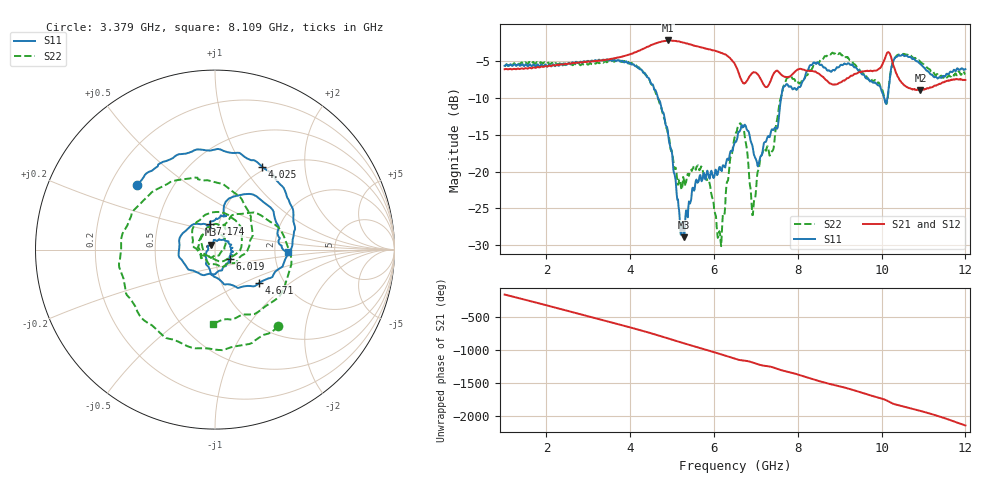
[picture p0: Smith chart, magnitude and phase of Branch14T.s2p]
!Keysight Technologies N9917A: A.08.15
!Date: Friday, 06 October 2017 10:04:01
!Timezone: (GMT-08:00) Pacific Time (US & Canada)
!Model: N9917A
!Serial: MY53102735
!GPS Latitude:
!GPS Longitude:
!GPS TimeStamp: 0001-01-01 00:00:00Z
!GPS Seconds Since Last Read: 0
!CHECKSUM:0928364548
!Correction: S11(ON U)S21(ON U)S12(ON U)S22(ON U)
!S2P File: Measurements:S11,S21,S12,S22:
# Hz S DB R 50
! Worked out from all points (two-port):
!   801 points, 1 GHz to 12 GHz, reference 50 ohm
!   highest |S21| = -2.28 dB at 4.891 GHz (marker M1); lowest = -9.0 dB at 10.93 GHz (marker M2)
!   |S21| within 3 dB of the highest: 2.768 GHz to 6.475 GHz (3.706 GHz wide, 80.2 % of centre); 10.04 GHz to 10.26 GHz (225.5 MHz wide, 2.22 % of centre)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
!   lowest |S11| = -28.9 dB at 5.276 GHz (marker M3), VSWR 1.07, Z = 47.7 + j2.63 ohm
!   |S11| at or under -10 dB: 4.657 GHz to 7.603 GHz (2.946 GHz wide, 48.1 % of centre); 10.06 GHz to 10.14 GHz (82.17 MHz wide, 0.814 % of centre)
!   |S22| runs from -30.1 to -3.9 dB; largest |S21 - S12| = 0.015
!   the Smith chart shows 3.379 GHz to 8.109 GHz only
!   S11 on the Smith chart (normalised r, x): 3.379 GHz: 0.31, +0.33; 4.025 GHz: 0.95, +1.22; 4.671 GHz: 1.50, -0.62; 6.019 GHz: 1.17, -0.12; 7.174 GHz: 0.91, +0.26; 8.109 GHz: 2.35, -0.08
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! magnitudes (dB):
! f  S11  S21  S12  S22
! 1 GHz  -5.7  -6.2  -6.2  -5.8
! 2.842 GHz  -5.3  -5.2  -5.2  -5.5
! 3.379 GHz  -5.0  -4.9  -4.9  -5.1
! 4.025 GHz  -5.5  -4.1  -4.1  -5.3
! 4.671 GHz  -10.2  -2.6  -2.5  -10.2
! 4.891 GHz  -14.3  -2.3  -2.3  -14.7
! 5.276 GHz  -28.9  -2.6  -2.6  -21.0
! 5.661 GHz  -20.5  -3.2  -3.2  -19.7
! 6.019 GHz  -20.3  -3.7  -3.7  -25.5
! 6.143 GHz  -19.4  -3.9  -3.9  -28.4
! 6.5 GHz  -16.1  -5.5  -5.5  -15.3
! 6.692 GHz  -14.0  -8.0  -8.0  -14.2
! 6.94 GHz  -17.4  -6.6  -6.6  -24.9
! 7.174 GHz  -16.7  -8.2  -8.2  -17.2
! 7.38 GHz  -14.3  -7.3  -7.3  -17.3
! 7.71 GHz  -8.3  -7.2  -7.2  -7.8
! 8.109 GHz  -7.9  -6.2  -6.2  -7.7
! 8.342 GHz  -5.5  -6.4  -6.4  -6.1
! 10.17 GHz  -8.6  -3.9  -3.9  -8.7
! 10.36 GHz  -4.5  -6.9  -6.9  -4.3
! 10.93 GHz  -5.5  -9.0  -9.0  -5.2
! 12 GHz  -6.1  -7.6  -7.7  -6.9
